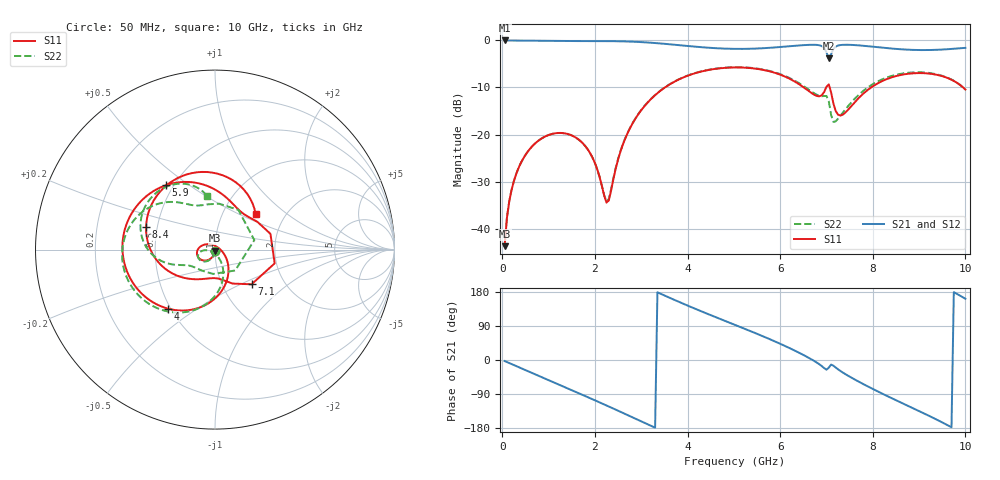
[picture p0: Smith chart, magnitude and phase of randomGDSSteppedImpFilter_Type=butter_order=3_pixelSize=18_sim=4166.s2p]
! freq	dB(S11)	phase(S11)	dB(S12)	phase(S12)
!  dB(S21)	phase(S21)	dB(S22)	phase(S22)
!S-par simulation data
#  GHz  S  DB  R 50
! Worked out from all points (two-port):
!   200 points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, 50 MHz to 10 GHz, reference 50 ohm
!   highest |S21| = -0.01 dB at 50 MHz (marker M1); lowest = -3.8 dB at 7.05 GHz (marker M2)
!   |S21| within 3 dB of the highest: start of sweep to 7.018 GHz; 7.095 GHz to end of sweep
!   lowest |S11| = -43.7 dB at 50 MHz (marker M3), VSWR 1.01, Z = 50 - j0.65 ohm
!   |S11| at or under -10 dB: start of sweep to 3.512 GHz; 6.512 GHz to 6.994 GHz (482.1 MHz wide, 7.14 % of centre); 7.069 GHz to 7.964 GHz (894.8 MHz wide, 11.9 % of centre) (the widest 3 of 4)
!   |S22| runs from -43.7 to -5.7 dB; largest |S21 - S12| = 0
!   S11 on the Smith chart (normalised r, x): 50 MHz: 1.00, -0.01; 4 GHz: 0.48, -0.39; 5.9 GHz: 0.46, +0.41; 7.1 GHz: 1.37, -0.58; 8.4 GHz: 0.43, +0.13; 10 GHz: 1.43, +0.62
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0.05  -43.74 -90.4  -0.01 -2.7  -0.01 -2.7  -43.73 -90.0
0.2  -31.79 -100.9  -0.02 -10.7  -0.02 -10.7  -31.78 -99.6
0.55  -23.64 -121.6  -0.06 -29.3  -0.06 -29.3  -23.63 -117.8
1.15  -19.73 -156.3  -0.12 -61.0  -0.12 -61.0  -19.73 -147.1
1.75  -21.99 165.5  -0.14 -92.8  -0.14 -92.8  -22.00 -172.5
2  -26.06 142.6  -0.13 -106.3  -0.13 -106.3  -26.07 -176.2
2.25  -34.48 68.9  -0.14 -120.0  -0.14 -120.0  -34.24 -129.0
2.7  -19.83 -46.0  -0.23 -145.0  -0.23 -145.0  -19.76 -65.9
3.4  -10.81 -93.8  -0.63 175.8  -0.63 175.8  -10.77 -95.8
4  -7.51 -128.7  -1.18 143.7  -1.18 143.7  -7.47 -124.5
5.05  -5.74 175.1  -1.80 91.4  -1.80 91.4  -5.69 -171.2
5.9  -6.93 127.1  -1.48 48.3  -1.48 48.3  -6.83 152.4
6.7  -11.33 67.6  -0.92 0.0  -0.92 0.0  -11.02 118.0
6.95  -10.98 33.1  -1.59 -21.3  -1.59 -21.3  -11.81 84.8
7.05  -9.34 -13.0  -3.84 -20.3  -3.84 -20.3  -12.94 13.6
7.1  -11.03 -43.5  -2.90 -12.1  -2.90 -12.1  -15.81 -45.9
7.3  -15.98 -92.0  -0.99 -28.9  -0.99 -28.9  -16.01 -144.0
7.65  -12.71 -136.9  -1.02 -54.1  -1.02 -54.1  -12.01 -160.8
8.35  -8.05 165.6  -1.68 -97.4  -1.68 -97.4  -7.73 170.9
8.4  -7.88 162.1  -1.72 -100.3  -1.72 -100.3  -7.57 168.7
9.25  -7.09 103.1  -2.04 -149.4  -2.04 -149.4  -6.96 130.7
10  -10.44 41.1  -1.58 161.6  -1.58 161.6  -10.42 98.5
